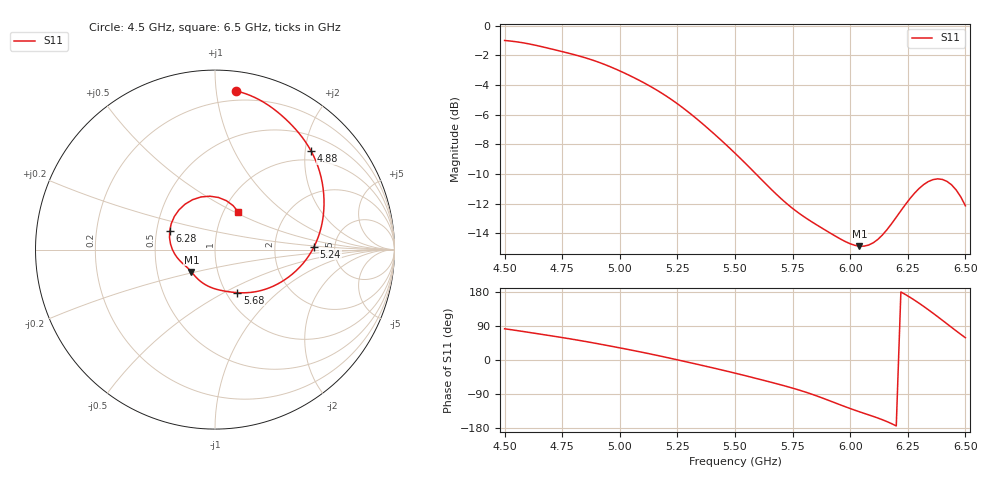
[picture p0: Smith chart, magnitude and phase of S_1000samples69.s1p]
! TOUCHSTONE file generated by CST MICROWAVE STUDIO
! Date and time: Wed Oct 26 21:21:45 2022
! Project name: L.cst
! Parameters = {Di=1.27; Epsilon_r=1.56; InnerDiameter=1.27; Length=2; Lf=10; Lg=60; OuterConductorThickness=0.2921; OuterDiameter=3.6; Wf=3; Wp=41.2; de=1.5; df=6.8; g=0.8; gx=2.19528; gy=3.19158; h=2.34; hf=1.524; px=12.4899; py=12.6572; w=9.7; wx=10.2946; wy=9.4656}
! Header version: 2018
! Port assignment regex: !\s*Touchstone port\s*([0-9]+)\s*=\s*(CST MWS port|CST DS port)\s*([0-9]+|Zmin|Zmax)\s*\(\"(.*)\"\)(\s*mode\s*([0-9]+))?.*
! Touchstone port assignment:
! Touchstone port 1 = CST MWS port 1 ("")
# GHz S DB R 50
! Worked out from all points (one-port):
!   101 points, 4.5 GHz to 6.5 GHz, reference 50 ohm
!   lowest |S11| = -14.9 dB at 6.04 GHz (marker M1), VSWR 1.44, Z = 37.3 - j9.59 ohm
!   |S11| at or under -10 dB: 5.592 GHz to end of sweep
!   S11 on the Smith chart (normalised r, x): 4.5 GHz: 0.13, +1.13; 4.88 GHz: 0.80, +2.12; 5.24 GHz: 3.46, +0.17; 5.68 GHz: 1.13, -0.58; 6.28 GHz: 0.59, +0.13; 6.5 GHz: 1.17, +0.53
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4.5  -0.99 82.4
4.62  -1.27 71.5
4.76  -1.78 58.2
4.88  -2.31 45.7
5  -3.04 32.0
5.12  -3.98 17.5
5.24  -5.15 1.8
5.26  -5.37 -0.9
5.38  -6.89 -17.4
5.5  -8.59 -34.7
5.58  -9.82 -46.8
5.68  -11.36 -62.5
5.76  -12.43 -76.0
5.88  -13.66 -100.5
6  -14.69 -128.1
6.04  -14.85 -136.6
6.1  -14.63 -148.8
6.18  -13.33 -168.1
6.22  -12.47 179.6
6.26  -11.64 165.3
6.28  -11.27 157.5
6.32  -10.69 141.0
6.34  -10.49 132.2
6.38  -10.32 114.1
6.4  -10.36 104.9
6.44  -10.72 86.2
6.48  -11.53 67.7
6.5  -12.13 58.8
